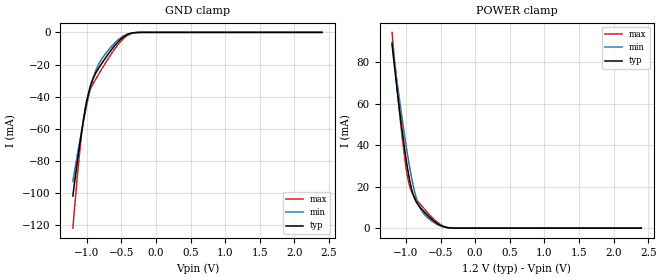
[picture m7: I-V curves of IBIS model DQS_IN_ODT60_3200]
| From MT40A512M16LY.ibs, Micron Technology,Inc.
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| MODEL DQS_IN_ODT60_3200 (Data Strobe Input with 60ohm ODT, 1600-3200Mbps)
[Model]   DQS_IN_ODT60_3200
Model_type   Input
Vinl = 905.000mV
Vinh = 1015.000mV
|   typ   min   max
|C_comp   0.756pF   0.702pF   0.824pF
C_comp_power_clamp   0.378pF   0.351pF   0.412pF
C_comp_gnd_clamp   0.378pF   0.351pF   0.412pF
| Note: C_comp changes when the ODT circuit is enabled.
|[Model Spec]
| Dynamic Overshoot Parameters from DDR4 Specification
|D_overshoot_ampl_h   0.40   NA   NA
|D_overshoot_ampl_l   0.40   NA   NA
|D_overshoot_area_h   0.0800n   NA   NA
|D_overshoot_area_l   0.0800n   NA   NA
[Voltage Range]   1.2000V   1.1400V   1.2600V
| Junction Temperature (Ambient temp is 35C typ, 95C min, 0C max)
[Temperature Range]   50.0   110.0   0.0
[Add Submodel]
| Submodel Name   Mode
60ohm_ODT_3200   Non-Driving
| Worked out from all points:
|   GND clamp passes 1 mA (typ) near -0.39 V on its own axis
|   POWER clamp passes 1 mA (typ) near -0.48 V on its own axis
[GND_clamp]
|   Voltage   I(typ)   I(min)   I(max)
-1.2V     -101.7mA   -92.86mA   -121.7mA
-1.135V   -79.96mA   -75.85mA   -88.92mA
-1.08V    -63.49mA   -62.76mA   -65.41mA
-1.036V   -51.56mA   -52.84mA   -50.64mA
-992.7mV  -41.38mA   -43.58mA   -41.02mA
-927.3mV  -30.76mA   -31.6mA    -33.57mA
-872.7mV  -25.55mA   -24.13mA   -29.29mA
-818.2mV  -21.61mA   -19.01mA   -25.29mA
-621.8mV  -9.659mA   -7.799mA   -11.96mA
-436.4mV  -1.919mA   -1.478mA   -2.611mA
-229.1mV  -17.22uA   -19.75uA   -20.83uA
2.4V      0A         0A         0A
[Power Clamp]
|   Voltage   I(typ)   I(min)   I(max)
-1.2V     88.83mA    89.6mA     94.34mA
-1.135V   68.72mA    72.21mA    70.04mA
-1.058V   47.72mA    53.58mA    44.98mA
-1.004V   34.46mA    41.14mA    30.25mA
-960mV    25.46mA    31.98mA    21.99mA
-894.5mV  16.03mA    20.41mA    16.05mA
-807.3mV  10.5mA     10.53mA    12.15mA
-709.1mV  6.909mA    5.768mA    8.277mA
-545.5mV  2.223mA    1.735mA    2.842mA
-436.4mV  532.9uA    427.3uA    716.1uA
-294.5mV  16.21uA    18.63uA    20.69uA
2.4V      0A         0A         0A
